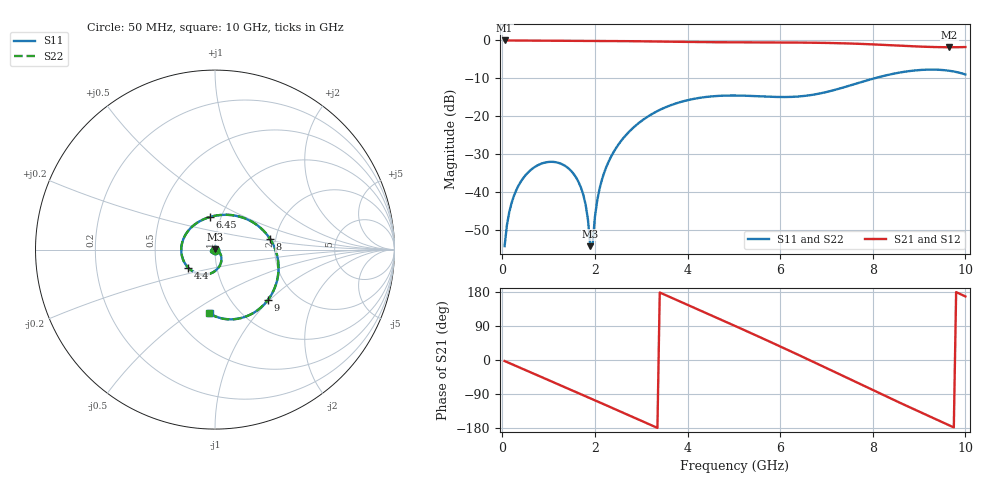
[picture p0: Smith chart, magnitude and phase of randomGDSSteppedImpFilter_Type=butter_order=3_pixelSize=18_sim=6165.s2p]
! freq	dB(S11)	phase(S11)	dB(S12)	phase(S12)
!  dB(S21)	phase(S21)	dB(S22)	phase(S22)
!S-par simulation data
#  GHz  S  DB  R 50
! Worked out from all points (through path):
!   200 points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, 50 MHz to 10 GHz, reference 50 ohm
!   highest |S21| = 0.00 dB at 50 MHz (marker M1); lowest = -1.8 dB at 9.65 GHz (marker M2)
!   group delay of S21, straight-line fit = 154 ps
!   lowest |S11| = -54.2 dB at 1.9 GHz (marker M3), VSWR 1.00, Z = 49.9 + j0.159 ohm
!   |S11| at or under -10 dB: start of sweep to 8.031 GHz
!   |S22| runs from -54.2 to -7.7 dB; largest |S21 - S12| = 0
!   S11 on the Smith chart (normalised r, x): 50 MHz: 1.00, -0.00; 4.4 GHz: 0.73, -0.15; 6.45 GHz: 0.89, +0.33; 8 GHz: 1.86, +0.25; 9 GHz: 1.46, -0.97; 10 GHz: 0.74, -0.60
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0.05  -54.21 -79.5  -0.00 -2.7  -0.00 -2.7  -54.21 -79.5
0.25  -41.00 -101.1  -0.02 -13.4  -0.02 -13.4  -41.00 -101.2
0.7  -33.36 -128.1  -0.05 -37.2  -0.05 -37.2  -33.36 -128.3
1.35  -33.01 -164.8  -0.08 -71.7  -0.08 -71.7  -33.01 -165.7
1.75  -40.72 168.5  -0.11 -93.0  -0.11 -93.0  -40.64 165.1
1.85  -47.24 153.4  -0.11 -98.4  -0.11 -98.4  -46.83 146.1
1.9  -54.22 124.7  -0.11 -101.1  -0.11 -101.1  -52.33 113.6
1.95  -53.82 30.3  -0.12 -103.7  -0.12 -103.7  -51.91 40.3
2.1  -39.10 -15.1  -0.13 -111.8  -0.13 -111.8  -39.00 -11.2
2.35  -30.61 -32.9  -0.15 -125.2  -0.15 -125.2  -30.58 -31.2
3.4  -18.31 -91.6  -0.29 178.1  -0.29 178.1  -18.31 -90.8
4.4  -14.90 -145.8  -0.45 124.0  -0.45 124.0  -14.89 -145.1
5.05  -14.52 178.6  -0.50 88.6  -0.50 88.6  -14.51 179.3
5.7  -14.80 142.1  -0.52 52.7  -0.52 52.7  -14.80 142.8
6.45  -14.72 99.1  -0.57 10.3  -0.57 10.3  -14.72 99.6
6.7  -14.33 84.7  -0.60 -4.0  -0.60 -4.0  -14.33 85.1
7.4  -12.27 44.7  -0.77 -44.5  -0.77 -44.5  -12.27 44.9
8  -10.10 11.0  -1.04 -79.3  -1.04 -79.3  -10.10 10.9
8.35  -9.03 -8.4  -1.24 -99.4  -1.24 -99.4  -9.03 -8.5
9  -7.81 -43.3  -1.61 -136.1  -1.61 -136.1  -7.81 -43.6
9.65  -7.99 -77.0  -1.79 -172.3  -1.79 -172.3  -7.99 -77.4
10  -8.96 -94.7  -1.74 167.7  -1.74 167.7  -8.98 -95.3
